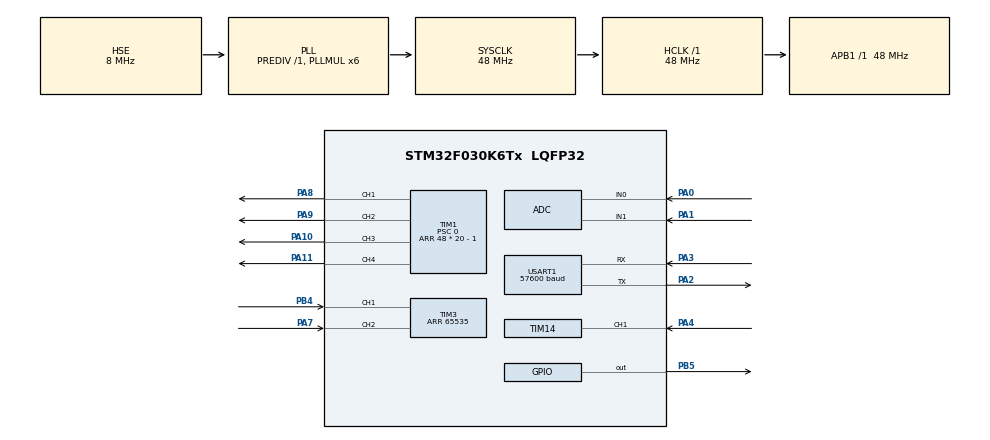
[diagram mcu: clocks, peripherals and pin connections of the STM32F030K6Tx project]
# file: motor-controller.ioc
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Dma.Request0=USART1_RX
Dma.Request1=USART1_TX
Dma.USART1_RX.0.Direction=DMA_PERIPH_TO_MEMORY
Dma.USART1_RX.0.Instance=DMA1_Channel3
Dma.USART1_RX.0.MemDataAlignment=DMA_MDATAALIGN_BYTE
Dma.USART1_RX.0.MemInc=DMA_MINC_ENABLE
Dma.USART1_RX.0.Mode=DMA_CIRCULAR
Dma.USART1_RX.0.PeriphDataAlignment=DMA_PDATAALIGN_BYTE
Dma.USART1_RX.0.PeriphInc=DMA_PINC_DISABLE
Dma.USART1_RX.0.Priority=DMA_PRIORITY_LOW
Dma.USART1_TX.1.Direction=DMA_MEMORY_TO_PERIPH
Dma.USART1_TX.1.Instance=DMA1_Channel2
Dma.USART1_TX.1.MemDataAlignment=DMA_MDATAALIGN_BYTE
Dma.USART1_TX.1.MemInc=DMA_MINC_ENABLE
Dma.USART1_TX.1.Mode=DMA_NORMAL
Dma.USART1_TX.1.PeriphDataAlignment=DMA_PDATAALIGN_BYTE
Dma.USART1_TX.1.PeriphInc=DMA_PINC_DISABLE
Dma.USART1_TX.1.Priority=DMA_PRIORITY_LOW
Mcu.Family=STM32F0
Mcu.Name=STM32F030K6Tx
Mcu.Package=LQFP32
NVIC.DMA1_Channel2_3_IRQn=true\:0\:0\:false\:false\:true\:false\:true
NVIC.TIM14_IRQn=true\:0\:0\:false\:false\:true\:true\:true
NVIC.TIM17_IRQn=true\:0\:0\:false\:false\:true\:true\:true
NVIC.TIM3_IRQn=true\:0\:0\:false\:false\:true\:true\:true
NVIC.USART1_IRQn=true\:0\:0\:false\:false\:true\:true\:true
PA0.Mode=IN0
PA0.Signal=ADC_IN0
PA1.Mode=IN1
PA1.Signal=ADC_IN1
PA10.Signal=S_TIM1_CH3
PA11.Signal=S_TIM1_CH4
PA2.Mode=Asynchronous
PA2.Signal=USART1_TX
PA3.Mode=Asynchronous
PA3.Signal=USART1_RX
PA4.Signal=S_TIM14_CH1
PA7.GPIO_ModeDefaultPP=GPIO_MODE_AF_OD
PA7.GPIO_PuPd=GPIO_PULLUP
PA7.Signal=S_TIM3_CH2
PA8.Signal=S_TIM1_CH1
PA9.Signal=S_TIM1_CH2
PB4.GPIO_ModeDefaultPP=GPIO_MODE_AF_OD
PB4.GPIO_PuPd=GPIO_PULLUP
PB4.Signal=S_TIM3_CH1
PB5.Signal=GPIO_Output
PF0-OSC_IN.Mode=HSE-External-Oscillator
PF0-OSC_IN.Signal=RCC_OSC_IN
PF1-OSC_OUT.Mode=HSE-External-Oscillator
PF1-OSC_OUT.Signal=RCC_OSC_OUT
ProjectManager.HeapSize=0x200
ProjectManager.StackSize=0x400
ProjectManager.TargetToolchain=SW4STM32
RCC.AHBFreq_Value=48000000
RCC.APB1Freq_Value=48000000
RCC.APB1TimFreq_Value=48000000
RCC.HCLKFreq_Value=48000000
RCC.PLLMUL=RCC_PLL_MUL6
RCC.PLLSourceVirtual=RCC_PLLSOURCE_HSE
RCC.SYSCLKFreq_VALUE=48000000
RCC.SYSCLKSource=RCC_SYSCLKSOURCE_PLLCLK
SH.S_TIM14_CH1.0=TIM14_CH1,Input_Capture1_from_TI1
SH.S_TIM1_CH1.0=TIM1_CH1,PWM Generation1 CH1
SH.S_TIM1_CH2.0=TIM1_CH2,PWM Generation2 CH2
SH.S_TIM1_CH3.0=TIM1_CH3,PWM Generation3 CH3
SH.S_TIM1_CH4.0=TIM1_CH4,PWM Generation4 CH4
SH.S_TIM3_CH1.0=TIM3_CH1,Encoder_Interface
SH.S_TIM3_CH2.0=TIM3_CH2,Encoder_Interface
TIM1.BreakPolarity=TIM_BREAKPOLARITY_HIGH
TIM1.Channel-PWM\ Generation1\ CH1=TIM_CHANNEL_1
TIM1.Channel-PWM\ Generation2\ CH2=TIM_CHANNEL_2
TIM1.Channel-PWM\ Generation3\ CH3=TIM_CHANNEL_3
TIM1.Channel-PWM\ Generation4\ CH4=TIM_CHANNEL_4
TIM1.CounterMode=TIM_COUNTERMODE_CENTERALIGNED1
TIM1.OCIdleState_1=TIM_OCIDLESTATE_SET
TIM1.OCIdleState_4=TIM_OCIDLESTATE_SET
TIM1.OCPolarity_1=TIM_OCPOLARITY_LOW
TIM1.OCPolarity_4=TIM_OCPOLARITY_LOW
TIM1.Period=48 * 20 - 1
TIM1.Prescaler=0
TIM14.Channel=TIM_CHANNEL_1
TIM14.ICFilter_CH1=15
TIM14.ICPolarity_CH1=TIM_INPUTCHANNELPOLARITY_BOTHEDGE
TIM14.Period=20000 - 1
TIM14.Prescaler=48 - 1
TIM17.Channel=TIM_CHANNEL_1
TIM17.Period=500
TIM17.Prescaler=48
TIM3.EncoderMode=TIM_ENCODERMODE_TI12
TIM3.IC1Filter=5
TIM3.IC2Filter=5
TIM3.Period=65535
USART1.BaudRate=57600
USART1.VirtualMode-Asynchronous=VM_ASYNC
VP_TIM14_VS_ClockSourceINT.Mode=Enable_Timer
VP_TIM17_VS_ClockSourceINT.Mode=Enable_Timer
VP_TIM17_VS_no_output1.Mode=Output Compare1 No Output
board=custom

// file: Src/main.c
/* USER CODE BEGIN Header */
/**
  ******************************************************************************
  * @file           : main.c
  * @brief          : Main program body
  ******************************************************************************
  * @attention
  *
  * <h2><center>&copy; Copyright (c) 2019 STMicroelectronics.
  * All rights reserved.</center></h2>
  *
  * This software component is licensed by ST under BSD 3-Clause license,
  * the "License"; You may not use this file except in compliance with the
  * License. You may obtain a copy of the License at:
  *                        opensource.org/licenses/BSD-3-Clause
  *
  ******************************************************************************
  */
/* USER CODE END Header */

#include "main.h"
#include "adc.h"
#include "dma.h"
#include "tim.h"
#include "usart.h"
#include "gpio.h"

/* USER CODE BEGIN Includes */
#include "config.h"
#include "pi_controller.h"
#include "encoder.h"
#include "dc_motor.h"

#include <micro/utils/types.h>
#include <micro/math/numeric.h>

/* USER CODE END Includes */

/* USER CODE BEGIN PV */
/* Private variables ---------------------------------------------------------*/

static volatile encoder_t encoder;
static volatile uint32_t rc_recv_in_speed = 1500;
static volatile uint32_t lastRcRecvTime = 0;
static volatile pi_controller_t speedCtrl = PI_CONTROLLER_INIT(SPEED_CTRL_P, SPEED_CTRL_I, SPEED_CTRL_INTEGRAL_MAX, -1.0f, 1.0f, SPEED_CTRL_DEADBAND_MPS);
static volatile float speed_measured_mps = 0.0f;
static volatile int32_t distance_mm = 0;

static float targetSpeed_mps = 0.0f;

/* USER CODE END PV */

void SystemClock_Config(void);
/* USER CODE BEGIN PFP */
/* Private function prototypes -----------------------------------------------*/

/* USER CODE END PFP */

int main(void)
{

  /* MCU Configuration--------------------------------------------------------*/

  /* Reset of all peripherals, Initializes the Flash interface and the Systick. */
  HAL_Init();

  /* Configure the system clock */
  SystemClock_Config();

  /* Initialize all configured peripherals */
  MX_GPIO_Init();
  MX_DMA_Init();
  MX_TIM3_Init();
  MX_TIM1_Init();
  MX_TIM14_Init();
  MX_TIM17_Init();
  MX_ADC_Init();
  MX_USART1_UART_Init();
  /* USER CODE BEGIN 2 */
  HAL_TIM_IC_Start_IT(tim_rc_recv, chnl_rc_recv);

  uint32_t nextSafetySignalCheckTime = HAL_GetTick();
  uint32_t nextLedToggleTime         = HAL_GetTick();

  speedCtrl.desired = 0.0f;

  dc_motor_initialize();
  encoder_initialize((encoder_t*)&encoder, ENCODER_MAX_VALUE);

  /* USER CODE END 2 */

  /* Infinite loop */
  /* USER CODE BEGIN WHILE */

  while (1)
  {
      if (HAL_GetTick() >= nextSafetySignalCheckTime) {
          nextSafetySignalCheckTime += 20;

          const float recvPwm = (float)rc_recv_in_speed;
          if (HAL_GetTick() - lastRcRecvTime < 100) {
              targetSpeed_mps = AVG(targetSpeed_mps, MAP(recvPwm, 1000, 2000, -MAX_SPEED_MPS, MAX_SPEED_MPS));

              if (ABS(targetSpeed_mps) < 0.1f) {
                  targetSpeed_mps = 0.0f;
              }
          } else {
              targetSpeed_mps = 0.0f;
          }
      }

      if (HAL_GetTick() >= nextLedToggleTime) {
          nextLedToggleTime += 500;
          HAL_GPIO_TogglePin(gpio_user_led, gpio_pin_user_led);
      }

    /* USER CODE END WHILE */

  }
}

void SystemClock_Config(void)
{
  RCC_OscInitTypeDef RCC_OscInitStruct = {0};
  RCC_ClkInitTypeDef RCC_ClkInitStruct = {0};
  RCC_PeriphCLKInitTypeDef PeriphClkInit = {0};

  /** Initializes the CPU, AHB and APB busses clocks
  */
  RCC_OscInitStruct.OscillatorType = RCC_OSCILLATORTYPE_HSI14|RCC_OSCILLATORTYPE_HSE;
  RCC_OscInitStruct.HSEState = RCC_HSE_ON;
  RCC_OscInitStruct.HSI14State = RCC_HSI14_ON;
  RCC_OscInitStruct.HSI14CalibrationValue = 16;
  RCC_OscInitStruct.PLL.PLLState = RCC_PLL_ON;
  RCC_OscInitStruct.PLL.PLLSource = RCC_PLLSOURCE_HSE;
  RCC_OscInitStruct.PLL.PLLMUL = RCC_PLL_MUL6;
  RCC_OscInitStruct.PLL.PREDIV = RCC_PREDIV_DIV1;
  if (HAL_RCC_OscConfig(&RCC_OscInitStruct) != HAL_OK)
  {
    Error_Handler();
  }
  /** Initializes the CPU, AHB and APB busses clocks
  */
  RCC_ClkInitStruct.ClockType = RCC_CLOCKTYPE_HCLK|RCC_CLOCKTYPE_SYSCLK
                              |RCC_CLOCKTYPE_PCLK1;
  RCC_ClkInitStruct.SYSCLKSource = RCC_SYSCLKSOURCE_PLLCLK;
  RCC_ClkInitStruct.AHBCLKDivider = RCC_SYSCLK_DIV1;
  RCC_ClkInitStruct.APB1CLKDivider = RCC_HCLK_DIV1;

  if (HAL_RCC_ClockConfig(&RCC_ClkInitStruct, FLASH_LATENCY_1) != HAL_OK)
  {
    Error_Handler();
  }
  PeriphClkInit.PeriphClockSelection = RCC_PERIPHCLK_USART1;
  PeriphClkInit.Usart1ClockSelection = RCC_USART1CLKSOURCE_PCLK1;
  if (HAL_RCCEx_PeriphCLKConfig(&PeriphClkInit) != HAL_OK)
  {
    Error_Handler();
  }
  HAL_RCC_MCOConfig(RCC_MCO, RCC_MCO1SOURCE_SYSCLK, RCC_MCODIV_1);
}

/* USER CODE BEGIN 4 */

void HAL_TIM_IC_CaptureCallback(TIM_HandleTypeDef *htim) {
	if (htim == tim_rc_recv) {
	    const uint32_t duty = __HAL_TIM_GET_COMPARE(tim_rc_recv, chnl_rc_recv);
	    if (duty > 850 && duty < 2150) {
	        rc_recv_in_speed = duty;
	        lastRcRecvTime = HAL_GetTick();
	    }
		__HAL_TIM_SET_COUNTER(tim_rc_recv, 0); 	//resets counter after input capture interrupt occurs
	}
}

void HAL_TIM_PeriodElapsedCallback(TIM_HandleTypeDef *htim) {
	if (htim == tim_speedControllerPeriod) {
        encoder_update((encoder_t*)&encoder);
        speed_measured_mps = encoder.last_diff / ENCODER_INCR_PER_MM / (ENCODER_PERIOD_US / 1000.0f);
        distance_mm = encoder.num_incr / ENCODER_INCR_PER_MM;

        speedCtrl.desired = targetSpeed_mps;
        pi_controller_update((pi_controller_t*)&speedCtrl, speed_measured_mps);
        dc_motor_write(speedCtrl.output);
	}
}

/* USER CODE END 4 */

void Error_Handler(void)
{
  while(1)
  {
  }
}

/************************ (C) COPYRIGHT STMicroelectronics *****END OF FILE****/
